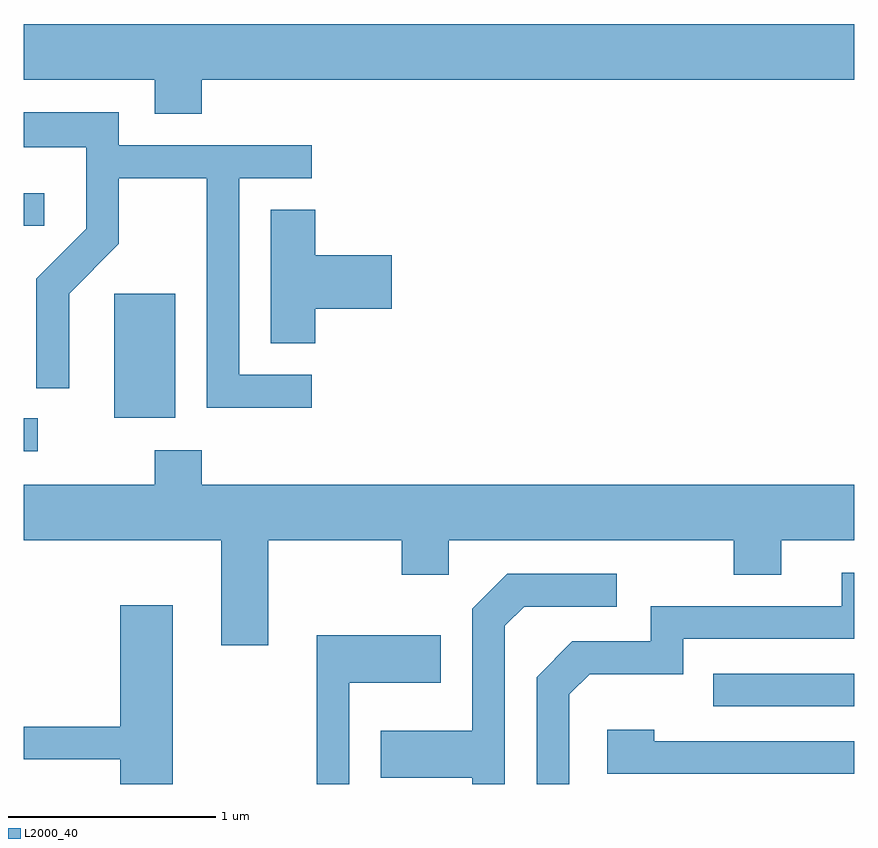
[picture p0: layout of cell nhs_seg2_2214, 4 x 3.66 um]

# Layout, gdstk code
import gdstk
lib = gdstk.Library(unit=1e-6, precision=1e-09)
def R(c, l, rs):  # rectangles x0, y0, x1, y1
    for r in rs: c.add(gdstk.rectangle(r[:2], r[2:], *l))
def P(c, l, *ps):  # polygons
    for p in ps: c.add(gdstk.Polygon(p, *l))
L2000_40 = (2000, 40)

nhs_seg2_2214 = lib.new_cell('nhs_seg2_2214')
R(nhs_seg2_2214, L2000_40, [(252.933,1054.176,253.611,1054.334), (249.611,1055.406,249.678,1055.564), (250.046,1055.566,250.339,1056.164), (249.611,1056.491,249.708,1056.649)])
P(nhs_seg2_2214, L2000_40, [(250.469,1057.196),(253.611,1057.196),(253.611,1057.464),(249.611,1057.464),(249.611,1057.196),(250.241,1057.196),(250.241,1057.031),(250.469,1057.031)],
  [(250.998,1055.774),(250.649,1055.774),(250.649,1056.721),(250.998,1056.721),(250.998,1056.879),(250.069,1056.879),(250.069,1057.039),(249.611,1057.039),(249.611,1056.871),(249.911,1056.871),(249.911,1056.477),(249.671,1056.237),(249.671,1055.708),(249.829,1055.708),(249.829,1056.164),(250.069,1056.404),(250.069,1056.721),(250.491,1056.721),(250.491,1055.616),(250.998,1055.616)],
  [(251.014,1056.091),(251.384,1056.091),(251.384,1056.349),(251.014,1056.349),(251.014,1056.569),(250.801,1056.569),(250.801,1055.926),(251.014,1055.926)],
  [(250.789,1054.976),(251.431,1054.976),(251.431,1054.811),(251.659,1054.811),(251.659,1054.976),(253.031,1054.976),(253.031,1054.811),(253.259,1054.811),(253.259,1054.976),(253.611,1054.976),(253.611,1055.244),(250.469,1055.244),(250.469,1055.409),(250.241,1055.409),(250.241,1055.244),(249.611,1055.244),(249.611,1054.976),(250.561,1054.976),(250.561,1054.471),(250.789,1054.471)],
  [(252.239,1054.234),(252.337,1054.331),(252.789,1054.331),(252.789,1054.501),(253.611,1054.501),(253.611,1054.819),(253.551,1054.819),(253.551,1054.659),(252.631,1054.659),(252.631,1054.489),(252.254,1054.489),(252.081,1054.317),(252.081,1053.802),(252.239,1053.802)],
  [(251.929,1054.564),(252.022,1054.656),(252.468,1054.656),(252.468,1054.814),(251.939,1054.814),(251.771,1054.647),(251.771,1054.059),(251.331,1054.059),(251.331,1053.831),(251.771,1053.831),(251.771,1053.802),(251.929,1053.802)],
  [(250.329,1054.664),(250.076,1054.664),(250.076,1054.079),(249.611,1054.079),(249.611,1053.921),(250.076,1053.921),(250.076,1053.802),(250.329,1053.802)],
  [(251.179,1054.291),(251.619,1054.291),(251.619,1054.519),(251.021,1054.519),(251.021,1053.802),(251.179,1053.802)],
  [(253.611,1054.009),(252.649,1054.009),(252.649,1054.064),(252.421,1054.064),(252.421,1053.851),(253.611,1053.851)])

lib.write_gds('nhs_seg2_2214.gds')
